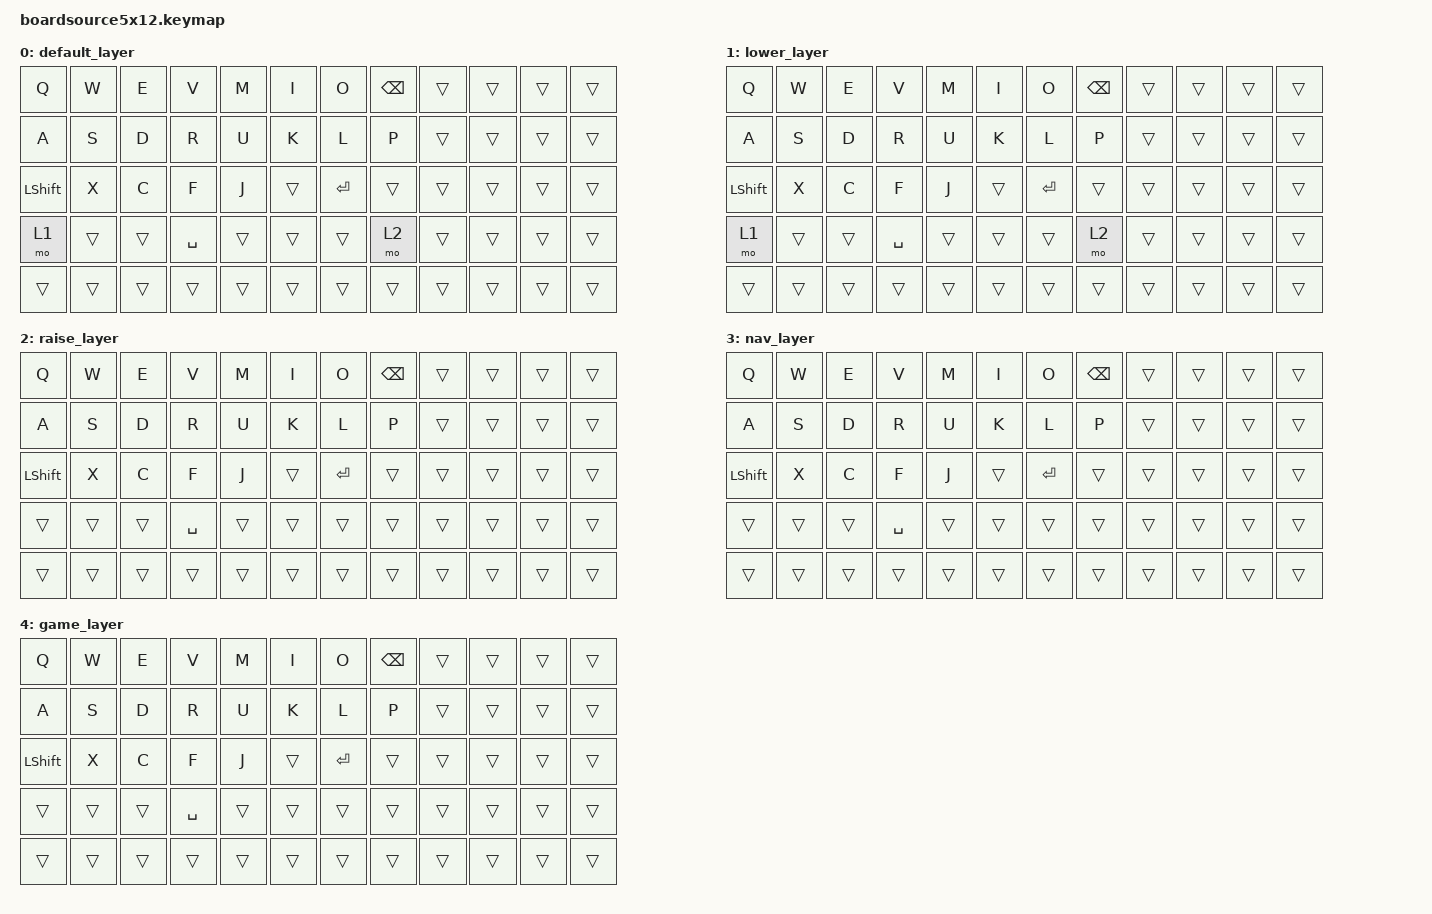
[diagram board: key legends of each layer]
/*
 * Copyright (c) 2021 The ZMK Contributors
 *
 * SPDX-License-Identifier: MIT
 */

#include <behaviors.dtsi>
#include <dt-bindings/zmk/keys.h>
#include <dt-bindings/zmk/bt.h>
#include <dt-bindings/zmk/outputs.h>


/ {
    keymap {
        compatible = "zmk,keymap";

        default_layer {
            // ------------------------------------------------------------
            // |  q    |  w   |  e   |  v   |  m   |  i   |   o   |  back |
            // |  a    |  s   |  d   |  r   |  u   |  k   |   l   |  p    |
            // | shift |  x   |  c   |  f   |  j   |        enter         |
            // | lower |                  space                   | raise |


            bindings = <
                &kp Q     &kp W     &kp E     &kp V     &kp M     &kp I     &kp O     &kp BSPC      &trans   &trans    &trans   &trans   
				&kp A     &kp S     &kp D     &kp R     &kp U     &kp K     &kp L     &kp P         &trans   &trans   &trans   &trans   
				&kp LSHFT &kp X     &kp C     &kp F     &kp J     &trans    &kp ENTER &trans        &trans   &trans   &trans   &trans  
                &mo 1     &trans    &trans    &kp SPACE &trans    &trans    &trans    &mo 2         &trans   &trans   &trans   &trans  
                &trans    &trans    &trans    &trans    &trans    &trans    &trans    &trans        &trans   &trans   &trans   &trans  
            >;
        };

        lower_layer {
            // ------------------------------------------------------------
            // |       |      |      |  b   |  n   |      |       |       |
            // |       |      |      |  t   |  y   |      |       |       |
            // | shift |  z   |      |  g   |  h   |                      |
            // | HOME |                  space                   | rshft |

            bindings = <
                &kp Q     &kp W     &kp E     &kp V     &kp M     &kp I     &kp O     &kp BSPC      &trans   &trans   &trans   &trans   
				&kp A     &kp S     &kp D     &kp R     &kp U     &kp K     &kp L     &kp P         &trans   &trans   &trans   &trans   
				&kp LSHFT &kp X     &kp C     &kp F     &kp J     &trans    &kp ENTER &trans        &trans   &trans   &trans   &trans  
                &mo 1     &trans    &trans    &kp SPACE &trans    &trans    &trans    &mo 2         &trans   &trans   &trans   &trans  
                &trans    &trans    &trans    &trans    &trans    &trans    &trans    &trans        &trans   &trans   &trans   &trans  
            >;
        };

        raise_layer {
            // ------------------------------------------------------------
            // |       |      |      |  b   |  n   |      |       |       |
            // |       |      |      |  t   |  y   |      |       |       |
            // | shift |  z   |      |  g   |  h   |                      |
            // | HOME |                  space                   | rshft |

            bindings = <
                &kp Q     &kp W     &kp E     &kp V     &kp M     &kp I     &kp O     &kp BSPC      &trans   &trans   &trans   &trans   
				&kp A     &kp S     &kp D     &kp R     &kp U     &kp K     &kp L     &kp P         &trans   &trans   &trans   &trans   
				&kp LSHFT &kp X     &kp C     &kp F     &kp J     &trans    &kp ENTER &trans        &trans   &trans   &trans   &trans  
                &trans    &trans    &trans    &kp SPACE &trans    &trans    &trans    &trans        &trans   &trans   &trans   &trans  
                &trans    &trans    &trans    &trans    &trans    &trans    &trans    &trans        &trans   &trans   &trans   &trans  
            >;
        };

         nav_layer {
            // ------------------------------------------------------------
            // |       |      |      |  b   |  n   |      |       |       |
            // |       |      |      |  t   |  y   |      |       |       |
            // | shift |  z   |      |  g   |  h   |                      |
            // | HOME |                  space                   | rshft |

            bindings = <
                &kp Q     &kp W     &kp E     &kp V     &kp M     &kp I     &kp O     &kp BSPC      &trans   &trans   &trans   &trans   
				&kp A     &kp S     &kp D     &kp R     &kp U     &kp K     &kp L     &kp P         &trans   &trans   &trans   &trans   
				&kp LSHFT &kp X     &kp C     &kp F     &kp J     &trans    &kp ENTER &trans        &trans   &trans   &trans   &trans  
                &trans    &trans    &trans    &kp SPACE &trans    &trans    &trans    &trans        &trans   &trans   &trans   &trans  
                &trans    &trans    &trans    &trans    &trans    &trans    &trans    &trans        &trans   &trans   &trans   &trans  
            >;
        };

        game_layer {
            // ------------------------------------------------------------
            // |       |      |      |  b   |  n   |      |       |       |
            // |       |      |      |  t   |  y   |      |       |       |
            // | shift |  z   |      |  g   |  h   |                      |
            // | HOME |                  space                   | rshft |

            bindings = <
                &kp Q     &kp W     &kp E     &kp V     &kp M     &kp I     &kp O     &kp BSPC      &trans   &trans   &trans   &trans   
				&kp A     &kp S     &kp D     &kp R     &kp U     &kp K     &kp L     &kp P         &trans   &trans   &trans   &trans   
				&kp LSHFT &kp X     &kp C     &kp F     &kp J     &trans    &kp ENTER &trans        &trans   &trans   &trans   &trans  
                &trans    &trans    &trans    &kp SPACE &trans    &trans    &trans    &trans        &trans   &trans   &trans   &trans  
                &trans    &trans    &trans    &trans    &trans    &trans    &trans    &trans        &trans   &trans   &trans   &trans  
            >;
        };
    };
};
